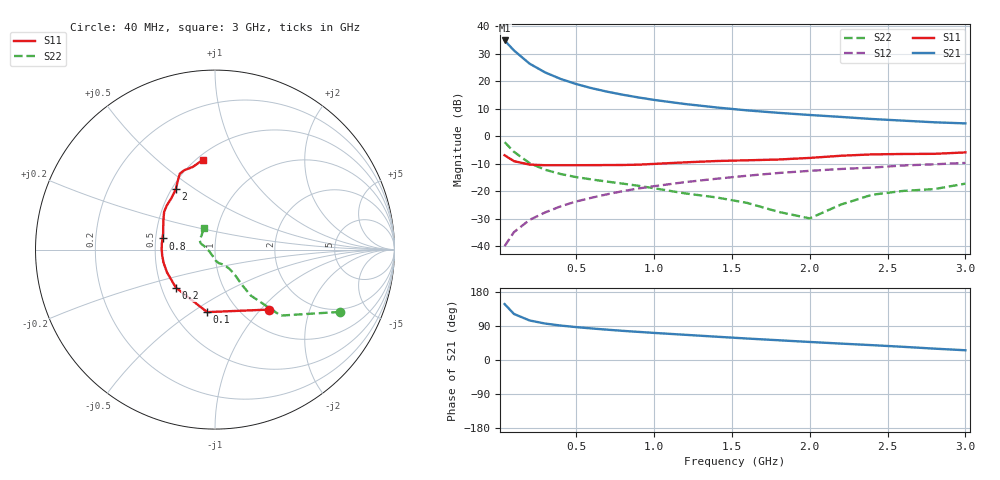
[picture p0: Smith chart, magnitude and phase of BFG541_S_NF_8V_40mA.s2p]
! Filename:  BFG541K.S2P  Version:  3.0
! Philips part #: BFG541  Date: Feb 1992
! Bias condition: Vce=8V, Ic=40mA
#  MHz  S  MA  R  50
! Freq  S11  S21  S12  S22  !GUM [dB]
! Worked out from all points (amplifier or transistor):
!   21 points, 40 MHz to 3 GHz, reference 50 ohm
!   highest |S21| = 34.8 dB at 40 MHz (marker M1)
!   |S21| within 3 dB of that: start of sweep to 89.52 MHz
!   unconditionally stable (mu >= 1): 465.6 MHz to 2.938 GHz
!   at 300 MHz: K = 0.95, MSG = 25.5 dB, |S12| = -27.7 dB
!   at 1 GHz: K = 1.05, MAG = 14.4 dB, |S12| = -18.2 dB
!   at 3 GHz: K = 0.99, MSG = 7.2 dB, |S12| = -9.7 dB
!   lowest NFmin = 1.90 dB at 900 MHz
!   S11 on the Smith chart (normalised r, x): 40 MHz: 1.33, -1.11; 100 MHz: 0.72, -0.58; 200 MHz: 0.59, -0.28; 800 MHz: 0.54, +0.07; 2 GHz: 0.52, +0.42; 3 GHz: 0.54, +0.72
40  0.449 -48.1  54.88 147.6  0.01 73.6  0.778 -26.5
100  0.351 -97.1  36.12 121.5  0.018 67.0  0.519 -45.1
200  0.304 -135.7  20.82 104.4  0.03 69.2  0.324 -52.1
300  0.296 -154.6  14.41 96.2  0.041 71.4  0.245 -52.6
400  0.296 -166.0  10.96 90.9  0.053 72.6  0.205 -52.1
500  0.296 -174.1  8.852 86.8  0.065 72.9  0.18 -51.9
600  0.297 179.5  7.438 83.2  0.076 72.6  0.163 -52.1
700  0.298 173.6  6.422 80.0  0.088 72.4  0.149 -52.5
800  0.299 168.0  5.654 76.9  0.1 71.6  0.137 -52.9
900  0.303 162.5  5.052 74.2  0.112 70.7  0.125 -54.3
1000  0.313 157.3  4.558 71.5  0.123 69.8  0.113 -56.4
1200  0.334 149.2  3.835 66.5  0.146 67.6  0.091 -64.0
1400  0.353 143.4  3.326 61.5  0.168 65.2  0.077 -75.2
1600  0.364 137.6  2.936 56.6  0.191 63.2  0.061 -86.6
1800  0.376 130.2  2.653 52.1  0.214 60.0  0.042 -102.8
2000  0.402 122.8  2.425 47.6  0.234 57.6  0.032 -156.4
2200  0.44 117.9  2.236 43.3  0.253 55.0  0.057 164.5
2400  0.466 114.9  2.049 39.2  0.268 53.2  0.086 156.7
2600  0.474 111.4  1.913 34.8  0.293 49.7  0.101 148.5
2800  0.477 105.0  1.786 30.0  0.308 45.7  0.109 133.1
3000  0.506 97.4  1.705 25.7  0.326 43.6  0.137 116.9
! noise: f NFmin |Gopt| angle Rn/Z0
900  1.9  0.397  -174  0.08
2000  2.6  0.53  -138  0.21
